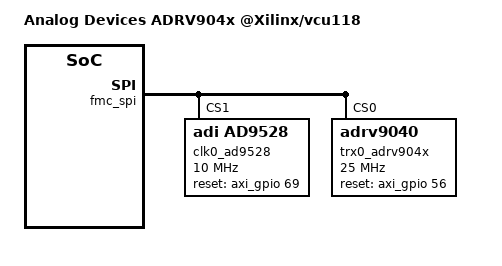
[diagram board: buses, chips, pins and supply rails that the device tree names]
// SPDX-License-Identifier: GPL-2.0
/*
 * Analog Devices adrv904x
 * https://wiki.analog.com/resources/eval/user-guides/adrv904x
 * https://wiki.analog.com/resources/tools-software/linux-drivers/iio-transceiver/adrv904x
 *
 * hdl_project: <adrv904x/vck190>
 * board_revision: <>
 *
 * Copyright (C) 2020-2023 Analog Devices Inc.
 */
/dts-v1/;

#include "vcu118.dtsi"
#include <dt-bindings/interrupt-controller/irq.h>
#include <dt-bindings/iio/adc/adi,adrv904x.h>
#include <dt-bindings/iio/frequency/ad9528.h>
#include <dt-bindings/gpio/gpio.h>
#include <dt-bindings/jesd204/adxcvr.h>

#define fmc_spi axi_spi

/ {
	model = "Analog Devices ADRV904x @Xilinx/vcu118";
};

&axi_intc {
	xlnx,kind-of-intr = <0xffff05f0>;
};

&axi_ethernet {
	local-mac-address = [00 0a 35 00 90 81];
};

&amba_pl {
	rx_dma: dma@7c400000 {
		compatible = "adi,axi-dmac-1.00.a";
		reg = <0x7c400000 0x10000>;
		#dma-cells = <1>;
		#clock-cells = <0>;
		interrupt-parent = <&axi_intc>;
		interrupts = <14 2>;

		clocks = <&clk_bus_0>;
	};

	tx_dma: dma@7c420000  {
		compatible = "adi,axi-dmac-1.00.a";
		reg = <0x7c420000 0x10000>;
		#dma-cells = <1>;
		#clock-cells = <0>;
		interrupt-parent = <&axi_intc>;
		interrupts = <13 2>;
		clocks = <&clk_bus_0>;

	};

	axi_adrv904x_core_rx: axi-adrv904x-rx-hpc@44a00000 {
		compatible = "adi,axi-adc-10.0.a";
		reg = <0x44a00000 0x8000>;
		dmas = <&rx_dma 0>;
		dma-names = "rx";
		spibus-connected = <&trx0_adrv904x>;
	};

	axi_adrv904x_core_tx: axi-adrv904x-tx-hpc@44a04000 {
		compatible = "adi,axi-adrv904x-tx-1.0";
		reg = <0x44a04000 0x4000>;
		dmas = <&tx_dma 0>;
		dma-names = "tx";
		clocks = <&trx0_adrv904x 1>;
		clock-names = "sampl_clk";
		// adi,axi-pl-fifo-enable;

		jesd204-device;
		#jesd204-cells = <2>;
		jesd204-inputs = <&axi_adrv904x_tx_jesd 0 DEFRAMER0_LINK_TX>;
	};

	axi_adrv904x_rx_jesd: axi-jesd204-rx@a4aa0000 {
		compatible = "adi,axi-jesd204-rx-1.0";
		reg = <0xa4aa0000 0x1000>;
		
		interrupt-parent = <&axi_intc>;
		interrupts = <11 2>;

		clocks = <&clk_bus_0>, <&clk0_ad9528 3>, <&axi_adrv904x_adxcvr_rx 1>, <&axi_adrv904x_adxcvr_rx 0>;
		clock-names = "s_axi_aclk", "device_clk", "link_clk", "lane_clk";

		#clock-cells = <0>;
		clock-output-names = "jesd_rx_lane_clk";

		jesd204-device;
		#jesd204-cells = <2>;
		jesd204-inputs = <&clk0_ad9528 0 FRAMER0_LINK_RX>;
	};

	axi_adrv904x_tx_jesd: axi-jesd204-tx@44a90000 {
		compatible = "adi,axi-jesd204-tx-1.0";
		reg = <0x44a90000 0x1000>;

		interrupt-parent = <&axi_intc>;
		interrupts = <10 2>;
		clocks = <&clk_bus_0>, <&clk0_ad9528 3>, <&axi_adrv904x_adxcvr_tx 1>, <&axi_adrv904x_adxcvr_tx 0>;
		clock-names = "s_axi_aclk", "device_clk", "link_clk", "lane_clk";

		#clock-cells = <0>;
		clock-output-names = "jesd_tx_lane_clk";

		jesd204-device;
		#jesd204-cells = <2>;
		jesd204-inputs = <&clk0_ad9528 0 DEFRAMER0_LINK_TX>;
	};

	axi_adrv904x_adxcvr_rx: axi-adxcvr-rx@44a60000 {
		#address-cells = <1>;
		#size-cells = <0>;
		compatible = "adi,axi-adxcvr-1.0";
		reg = <0x44a60000 0x10000>;

		clocks = <&clk0_ad9528 13>;
		clock-names = "conv";

		#clock-cells = <1>;
		clock-output-names = "rx_gt_clk", "rx_out_clk";

		adi,sys-clk-select = <XCVR_QPLL>;
		adi,out-clk-select = <XCVR_REFCLK>;

		jesd204-device;
		#jesd204-cells = <2>;
		jesd204-inputs =  <&clk0_ad9528 0 FRAMER0_LINK_RX>;
	};
	axi_adrv904x_adxcvr_tx: axi-adxcvr-tx@44a80000 {
		#address-cells = <1>;
		#size-cells = <0>;
		compatible = "adi,axi-adxcvr-1.0";
		reg = <0x44a80000 0x1000>;

		clocks = <&clk0_ad9528 13>;
		clock-names = "conv";

		#clock-cells = <1>;
		clock-output-names = "tx_gt_clk", "tx_out_clk";

		adi,sys-clk-select = <XCVR_QPLL>;
		adi,out-clk-select = <XCVR_REFCLK>;

		jesd204-device;
		#jesd204-cells = <2>;
		jesd204-inputs =  <&clk0_ad9528 0 DEFRAMER0_LINK_TX>;
	};

	axi_sysid_0: axi-sysid-0@45000000 {
		compatible = "adi,axi-sysid-1.00.a";
		reg = <0x45000000 0x10000>;
	};

	axi_data_offload_rx: data_offload_rx@7c450000 {
		compatible = "adi,axi-data-offload-1.0.a";
		reg = <0x7c450000 0x10000>;
	};

	axi_data_offload_tx: data_offload_tx@7c440000 {
		compatible = "adi,axi-data-offload-1.0.a";
		reg = <0x7c440000 0x10000>;
	};
};

&fmc_spi {
	status = "okay";

	clk0_ad9528: ad9528-1@1 {
		compatible = "adi,ad9528";
		reg = <1>;

		#address-cells = <1>;
		#size-cells = <0>;

		spi-max-frequency = <10000000>;
		//adi,spi-3wire-enable;

		clock-output-names = "ad9528-1_out0", "ad9528-1_out1", "ad9528-1_out2",
			"ad9528-1_out3", "ad9528-1_out4", "ad9528-1_out5", "ad9528-1_out6",
			"ad9528-1_out7", "ad9528-1_out8", "ad9528-1_out9", "ad9528-1_out10",
			"ad9528-1_out11", "ad9528-1_out12", "ad9528-1_out13";
		#clock-cells = <1>;

		reset-gpios = <&axi_gpio 69 0>;

		jesd204-device;
		#jesd204-cells = <2>;
		jesd204-sysref-provider;

		adi,vcxo-freq = <122880000>;

		adi,refa-enable;

		adi,refa-diff-rcv-enable;
		adi,refa-r-div = <1>;

		/* PLL1 config */
		adi,pll1-feedback-div = <4>;
		adi,pll1-charge-pump-current-nA = <5000>;

		/* PLL2 config */ /* 983040000 Hz */
		adi,pll2-vco-div-m1 = <4>;
		adi,pll2-n2-div = <4>; /* N / M1 */
		adi,pll2-r1-div = <1>;
		adi,pll2-charge-pump-current-nA = <815000>;
		adi,pll2-freq-doubler-enable;

		/* SYSREF config */
		adi,sysref-src = <SYSREF_SRC_INTERNAL>;
		adi,sysref-pattern-mode = <SYSREF_PATTERN_NSHOT>;
		adi,sysref-k-div = <512>;
		adi,sysref-nshot-mode = <SYSREF_NSHOT_8_PULSES>;
		adi,sysref-request-trigger-mode = <SYSREF_LEVEL_HIGH>;
		adi,jesd204-desired-sysref-frequency-hz = <3840000>;

		adi,rpole2 = <RPOLE2_900_OHM>;
		adi,rzero = <RZERO_1850_OHM>;
		adi,cpole1 = <CPOLE1_16_PF>;

		adi,status-mon-pin0-function-select = <9>; /* PLL1 in holdover */
		adi,status-mon-pin1-function-select = <3>; /* PLL2 locked */

		ad9528_0_c0: channel@0 {
			reg = <0>;
			adi,extended-name = "DEV_SYSREF";
			adi,driver-mode = <DRIVER_MODE_LVDS>;
			adi,divider-phase = <0>;
			adi,channel-divider = <4>;
			adi,signal-source = <SOURCE_SYSREF_VCO>;
			//adi,output-dis;
		};

		ad9528_0_c1: channel@1 {
			reg = <1>;
			adi,extended-name = "DEV_CLK";
			adi,driver-mode = <DRIVER_MODE_LVDS>;
			adi,divider-phase = <0>;
			adi,channel-divider = <4>;
			adi,signal-source = <SOURCE_VCO>;
			//adi,output-dis;
		};

		ad9528_0_c3: channel@3 {
			reg = <3>;
			adi,extended-name = "CORE_CLK";
			adi,driver-mode = <DRIVER_MODE_LVDS>;
			adi,divider-phase = <0>;
			adi,channel-divider = <4>;
			adi,signal-source = <SOURCE_VCO>;
			//adi,output-dis;
		};

		ad9528_0_c11: channel@11 {
			reg = <11>;
			adi,extended-name = "REF_CLK1";
			adi,driver-mode = <DRIVER_MODE_LVDS>;
			adi,divider-phase = <0>;
			adi,channel-divider = <2>;
			adi,signal-source = <SOURCE_SYSREF_VCO>;
			//adi,output-dis;
		};

		ad9528_0_c12: channel@12 {
			reg = <12>;
			adi,extended-name = "FPGA_SYSREF";
			adi,driver-mode = <DRIVER_MODE_LVDS>;
			adi,divider-phase = <0>;
			adi,channel-divider = <4>;
			adi,signal-source = <SOURCE_SYSREF_VCO>;
			//adi,output-dis;
		};

		ad9528_0_c13: channel@13 {
			reg = <13>;
			adi,extended-name = "REF_CLK0";
			adi,driver-mode = <DRIVER_MODE_LVDS>;
			adi,divider-phase = <0>;
			adi,channel-divider = <2>;
			adi,signal-source = <SOURCE_VCO>;
			adi,output-dis;
		};
	};

	trx0_adrv904x: adrv904x-phy@0 {
		compatible = "adrv9040";
		reg = <0>;

		#address-cells = <1>;
		#size-cells = <0>;

		/* SPI Setup */
		spi-max-frequency = <25000000>;

		interrupt-parent = <&axi_gpio>;
		// interrupts = <134 IRQ_TYPE_EDGE_RISING>; /* adrv904x_gpint1 - CHECK */
		reset-gpios = <&axi_gpio 56 0>;

		/* Clocks */
		clocks = <&clk0_ad9528 1>;

		clock-names = "dev_clk";

		clock-output-names = "rx_sampl_clk", "tx_sampl_clk";
		#clock-cells = <1>;

		jesd204-device;
		#jesd204-cells = <2>;
		jesd204-top-device = <0>; /* This is the TOP device */
		jesd204-link-ids = <DEFRAMER0_LINK_TX FRAMER0_LINK_RX>;

		jesd204-inputs =
			<&axi_adrv904x_rx_jesd 0 FRAMER0_LINK_RX>,
			<&axi_adrv904x_core_tx 0 DEFRAMER0_LINK_TX>;

		adi,device-config-name = "DeviceProfileTest.bin";
		adi,arm-firmware-name = "ADRV9040_FW.bin";
		adi,arm-dfe-firmware-name = "ADRV9040_DFE_CALS_FW.bin";
		adi,stream-firmware-name = "stream_image.bin";
		adi,rx-gaintable-names = "ADRV9040_RxGainTable.csv";
		adi,rx-gaintable-channel-masks = <0xFF>;
		//adi,tx-attntable-names = "ADRV904X_TxAttenTable.csv";
		//adi,tx-attntable-channel-masks = <0x0F>;
	};
};
